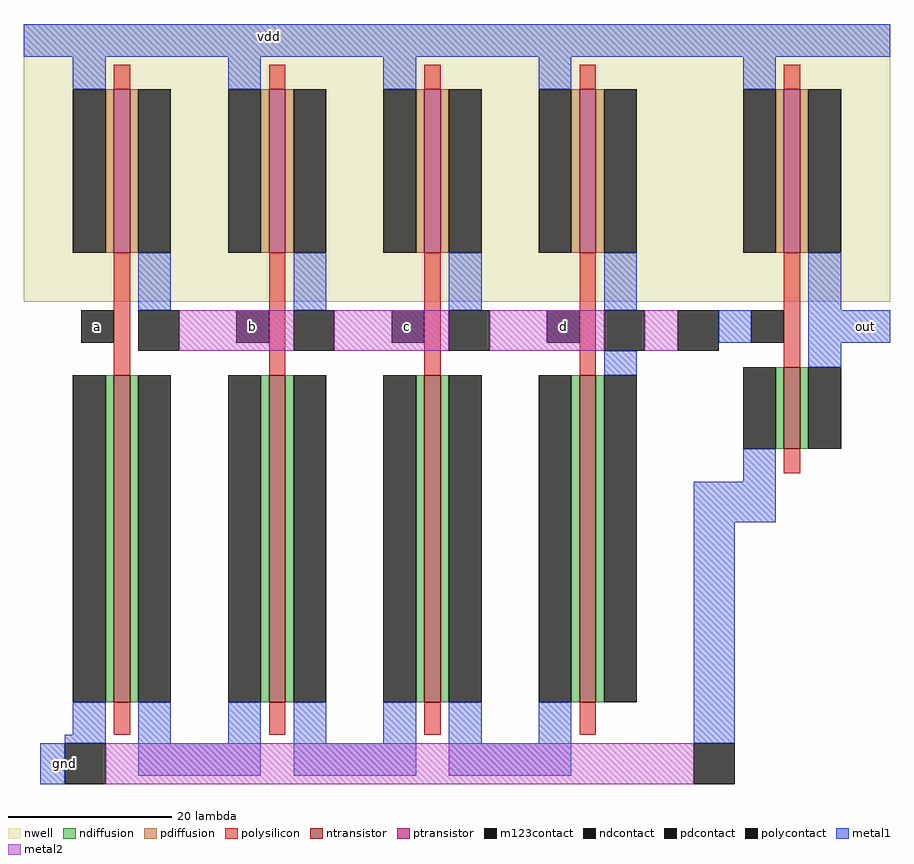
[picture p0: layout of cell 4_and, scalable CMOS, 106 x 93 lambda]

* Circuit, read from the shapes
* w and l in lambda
.subckt 4_and a b c d gnd out vdd
M1 n1 a gnd VSUBS nfet w=40 l=2
M2 n2 b n1 VSUBS nfet w=40 l=2
M3 n3 c n2 VSUBS nfet w=40 l=2
M4 n4 d n3 VSUBS nfet w=40 l=2
M5 out n4 gnd VSUBS nfet w=10 l=2
M6 n4 a vdd n5 pfet w=20 l=2
M7 n4 b vdd n5 pfet w=20 l=2
M8 n4 c vdd n5 pfet w=20 l=2
M9 n4 d vdd n5 pfet w=20 l=2
M10 out n4 vdd n5 pfet w=20 l=2
.ends

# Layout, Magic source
magic
tech scmos
<< nwell >>
rect -146 21 -40 55
<< ntransistor >>
rect -135 -28 -133 12
rect -116 -28 -114 12
rect -97 -28 -95 12
rect -78 -28 -76 12
rect -53 3 -51 13
<< ptransistor >>
rect -135 27 -133 47
rect -116 27 -114 47
rect -97 27 -95 47
rect -78 27 -76 47
rect -53 27 -51 47
<< ndiffusion >>
rect -136 -28 -135 12
rect -133 -28 -132 12
rect -117 -28 -116 12
rect -114 -28 -113 12
rect -98 -28 -97 12
rect -95 -28 -94 12
rect -79 -28 -78 12
rect -76 -28 -75 12
rect -54 3 -53 13
rect -51 3 -50 13
<< pdiffusion >>
rect -136 27 -135 47
rect -133 27 -132 47
rect -117 27 -116 47
rect -114 27 -113 47
rect -98 27 -97 47
rect -95 27 -94 47
rect -79 27 -78 47
rect -76 27 -75 47
rect -54 27 -53 47
rect -51 27 -50 47
<< ndcontact >>
rect -140 -28 -136 12
rect -132 -28 -128 12
rect -121 -28 -117 12
rect -113 -28 -109 12
rect -102 -28 -98 12
rect -94 -28 -90 12
rect -83 -28 -79 12
rect -75 -28 -71 12
rect -58 3 -54 13
rect -50 3 -46 13
<< pdcontact >>
rect -140 27 -136 47
rect -132 27 -128 47
rect -121 27 -117 47
rect -113 27 -109 47
rect -102 27 -98 47
rect -94 27 -90 47
rect -83 27 -79 47
rect -75 27 -71 47
rect -58 27 -54 47
rect -50 27 -46 47
<< polysilicon >>
rect -135 47 -133 50
rect -116 47 -114 50
rect -97 47 -95 50
rect -78 47 -76 50
rect -53 47 -51 50
rect -135 12 -133 27
rect -116 12 -114 27
rect -97 12 -95 27
rect -78 12 -76 27
rect -53 13 -51 27
rect -53 0 -51 3
rect -135 -32 -133 -28
rect -116 -32 -114 -28
rect -97 -32 -95 -28
rect -78 -32 -76 -28
<< polycontact >>
rect -139 16 -135 20
rect -120 16 -116 20
rect -101 16 -97 20
rect -82 16 -78 20
rect -57 16 -53 20
<< metal1 >>
rect -146 51 -40 55
rect -140 47 -136 51
rect -121 47 -117 51
rect -102 47 -98 51
rect -83 47 -79 51
rect -58 47 -54 51
rect -132 20 -128 27
rect -113 20 -109 27
rect -94 20 -90 27
rect -75 20 -71 27
rect -50 20 -46 27
rect -61 16 -57 20
rect -50 16 -40 20
rect -75 12 -71 15
rect -50 13 -46 16
rect -140 -32 -136 -28
rect -141 -33 -136 -32
rect -144 -38 -141 -33
rect -132 -33 -128 -28
rect -121 -33 -117 -28
rect -132 -37 -117 -33
rect -113 -33 -109 -28
rect -102 -33 -98 -28
rect -113 -37 -98 -33
rect -94 -33 -90 -28
rect -58 -1 -54 3
rect -64 -6 -54 -1
rect -83 -33 -79 -28
rect -94 -37 -79 -33
rect -64 -33 -59 -6
<< metal2 >>
rect -127 15 -113 20
rect -108 15 -94 20
rect -89 15 -75 20
rect -70 15 -66 20
rect -136 -38 -64 -33
<< m123contact >>
rect -132 15 -127 20
rect -113 15 -108 20
rect -94 15 -89 20
rect -75 15 -70 20
rect -66 15 -61 20
rect -141 -38 -136 -33
rect -64 -38 -59 -33
<< labels >>
rlabel metal1 -118 53 -114 54 5 vdd
rlabel polycontact -139 16 -135 20 1 a
rlabel polycontact -120 16 -116 20 1 b
rlabel polycontact -101 16 -97 20 1 c
rlabel polycontact -82 16 -78 20 1 d
rlabel metal1 -143 -36 -139 -35 2 gnd
rlabel metal1 -46 16 -40 20 7 out
<< end >>
